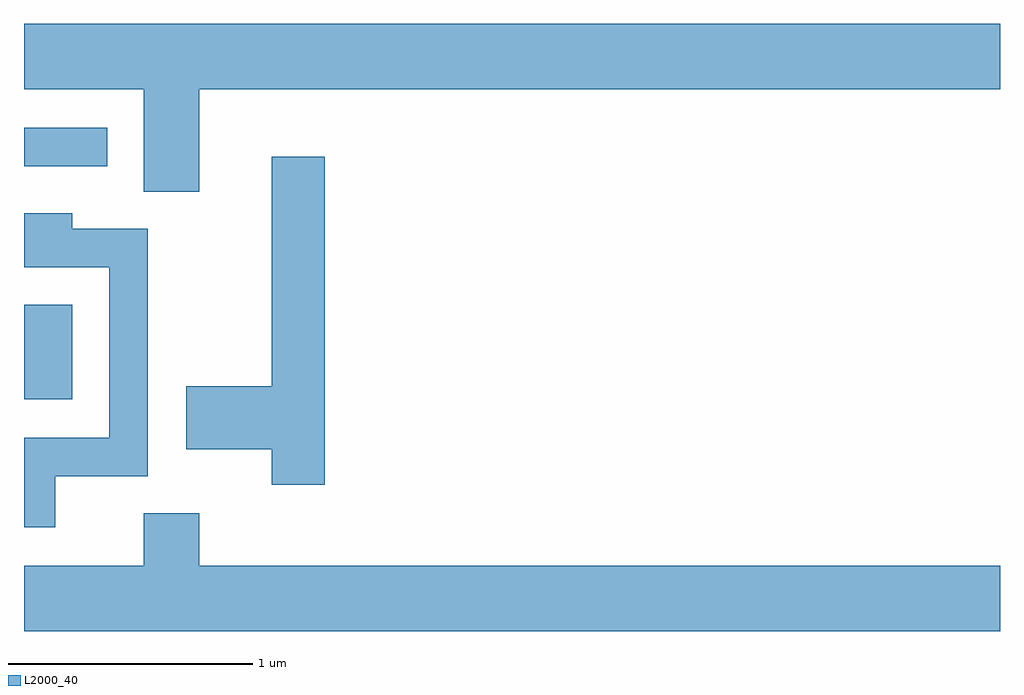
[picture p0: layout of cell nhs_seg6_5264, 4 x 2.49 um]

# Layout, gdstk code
import gdstk
lib = gdstk.Library(unit=1e-6, precision=1e-09)
def R(c, l, rs):  # rectangles x0, y0, x1, y1
    for r in rs: c.add(gdstk.rectangle(r[:2], r[2:], *l))
def P(c, l, *ps):  # polygons
    for p in ps: c.add(gdstk.Polygon(p, *l))
L2000_40 = (2000, 40)

nhs_seg6_5264 = lib.new_cell('nhs_seg6_5264')
R(nhs_seg6_5264, L2000_40, [(345.611,1593.166,345.809,1593.554), (345.611,1594.121,345.953,1594.279)])
P(nhs_seg6_5264, L2000_40, [(346.329,1594.436),(349.611,1594.436),(349.611,1594.704),(345.611,1594.704),(345.611,1594.436),(346.101,1594.436),(346.101,1594.016),(346.329,1594.016)],
  [(346.844,1594.159),(346.626,1594.159),(346.626,1593.219),(346.276,1593.219),(346.276,1592.961),(346.626,1592.961),(346.626,1592.816),(346.844,1592.816)],
  [(345.739,1592.851),(346.119,1592.851),(346.119,1593.864),(345.809,1593.864),(345.809,1593.929),(345.611,1593.929),(345.611,1593.706),(345.961,1593.706),(345.961,1593.009),(345.611,1593.009),(345.611,1592.641),(345.739,1592.641)],
  [(349.611,1592.484),(346.329,1592.484),(346.329,1592.699),(346.101,1592.699),(346.101,1592.484),(345.611,1592.484),(345.611,1592.216),(349.611,1592.216)])

lib.write_gds('nhs_seg6_5264.gds')
